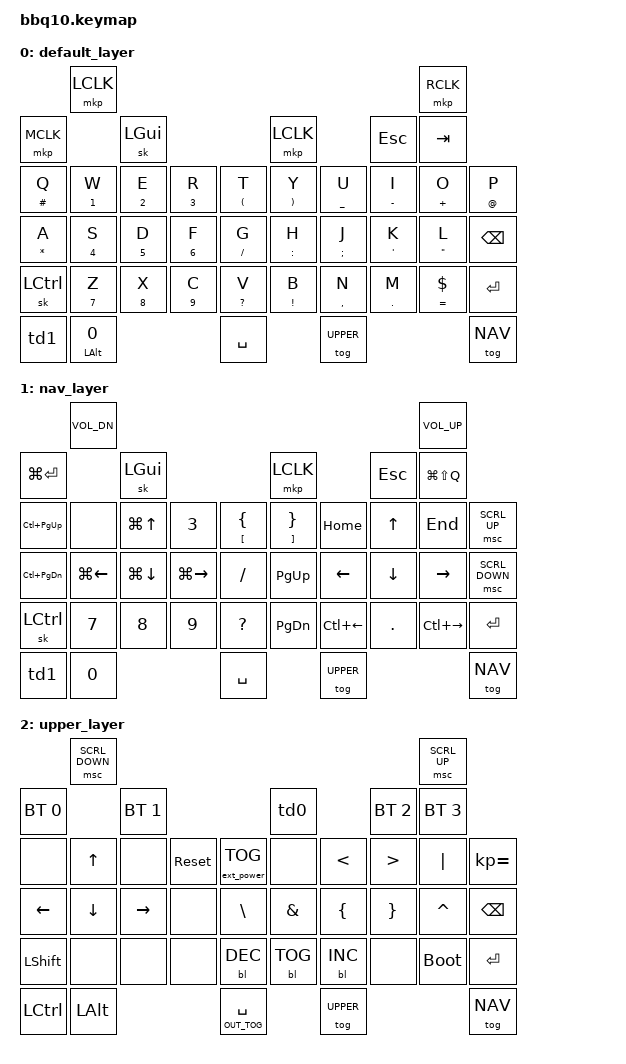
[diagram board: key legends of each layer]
/*
 * Copyright (c) 2023 ZitaoTech
 *
 * SPDX-License-Identifier: MIT
 */

#include <behaviors.dtsi>
#include <dt-bindings/zmk/keys.h>
#include <dt-bindings/zmk/bt.h>
#include <dt-bindings/zmk/outputs.h>
#include <dt-bindings/zmk/mouse.h>
#include <dt-bindings/zmk/backlight.h>
#include <dt-bindings/zmk/ext_power.h>

   
#define NAV 1
#define UPPER 2
#define GUI 3


/ {
    behaviors {
        td0: tap_dance_0 {
            compatible = "zmk,behavior-tap-dance";
            #binding-cells = <0>;
            tapping-term-ms = <400>;
            bindings = <&mkp LCLK>, <&bt BT_CLR>;
        };
    };
    behaviors {
        hm: homerow_mods {
            compatible = "zmk,behavior-hold-tap";
            #binding-cells = <2>;
            tapping-term-ms = <500>;
            bindings = <&out &kp>;
        };
    };
    behaviors {
        td1: tap_dance_1 {
            compatible = "zmk,behavior-tap-dance";
            #binding-cells = <0>;
            tapping-term-ms = <600>;
            bindings = <&sk LSHFT>, <&kp CLCK>;
        };
    };

    keymap {
        compatible = "zmk,keymap";

        default_layer {

            bindings = <
//         --------------------------------------------------------------------------------------------------------------------------         
//         |    Shoulder Key1    |                                                                             |    Shoulder Key2    |     
// |         Call key      |      Blackberry Key        |    Trackpad    |             Back Key                |             Endcall Key          |
// |     Q      |     W    |     E    |     R    |      T      |       Y        |       U        |        I        |       O      |      P        |     
// |     A      |     S    |     D    |     F    |      G      |       H        |       J        |        K        |       L      |      ←        |  
// |     alt    |     Z    |     X    |     C    |      V      |       B        |       N        |        M        |       $      |    Enter      |   
//        |         aA     |         0           |           SPACE              |         NAV         |        aA          |       
//        -----------------------------------------------------------------------------------------------------------------

                 &mkp LCLK                                                                                          &mkp RCLK
    &mkp MCLK             &sk LGUI                            &mkp LCLK                          &kp ESC                  &kp TAB
    &mt HASH Q   &mt N1 W   &mt N2 E    &mt N3 R     &mt LPAR T    &mt RPAR Y      &mt UNDER U     &mt MINUS I      &mt PLUS O       &mt AT P
    &mt STAR A   &mt N4 S   &mt N5 D    &mt N6 F     &mt SLASH G   &mt COLON H     &mt SEMI J      &mt APOS K       &mt DQT L        &kp BSPC
    &sk LCTRL    &mt N7 Z   &mt N8 X    &mt N9 C     &mt QMARK V   &mt EXCL B      &mt COMMA N     &mt DOT M        &mt EQUAL DOLLAR &kp ENTER
    &td1         &mt LALT N0                            &kp SPACE                          &tog UPPER                          &tog NAV
            >;
        };


        nav_layer {

            bindings = <        
                 &kp C_VOL_DN                                                                                       &kp C_VOL_UP
    &kp LG(ENTER)               &sk LGUI                     &mkp LCLK                          &kp ESC                            &kp LG(LS(Q)) 
    &kp LC(PAGE_UP)        &none          &kp LG(UP) &kp N3    &mt LBKT LBRC &mt RBKT RBRC   &kp HOME         &kp UP           &kp END           &msc SCRL_UP
    &kp LC(PAGE_DOWN)      &kp LG(LEFT)   &kp LG(DOWN) &kp LG(RIGHT) &kp SLASH     &kp PAGE_UP     &kp LEFT   &kp DOWN         &kp RIGHT         &msc SCRL_DOWN
    &sk LCTRL    &kp N7     &kp N8      &kp N9    &kp QMARK     &kp PAGE_DOWN       &kp LC(LEFT)     &kp DOT          &kp LC(RIGHT)    &kp ENTER
    &td1                &kp N0                              &kp SPACE                          &tog UPPER                          &tog NAV
            >;
        };

        upper_layer {

            bindings = <
                 &msc SCRL_DOWN                                                                                       &msc SCRL_UP
    &bt BT_SEL 0            &bt BT_SEL 1                             &td0                           &bt BT_SEL 2                     &bt BT_SEL 3
    &none        &kp UP     &none       &sys_reset &ext_power EP_TOG &none         &kp LT           &kp GT          &kp PIPE         &kp KP_EQUAL
    &kp LEFT     &kp DOWN   &kp RIGHT   &none      &kp BSLH          &kp AMPS      &kp LBRC         &kp RBRC        &kp CARET        &kp BSPC
    &kp LSHFT    &none      &none       &none      &bl BL_DEC        &bl BL_TOG    &bl BL_INC       &none           &bootloader      &kp ENTER
    &kp LCTRL               &kp LALT                                 &hm OUT_TOG SPACE              &tog UPPER                         &tog NAV
            >;
        };
    };
};

